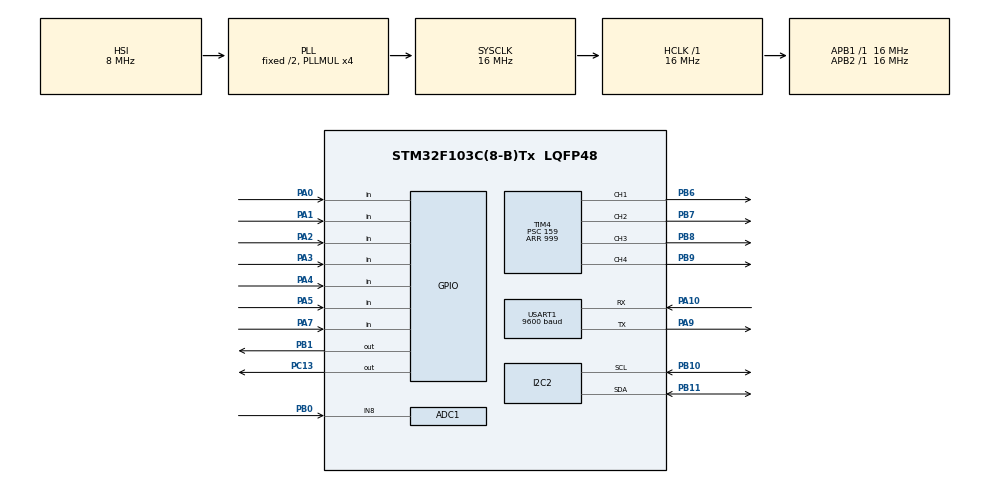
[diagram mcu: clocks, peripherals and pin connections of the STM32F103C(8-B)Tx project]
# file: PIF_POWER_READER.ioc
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ADC1.Channel-1\#ChannelRegularConversion=ADC_CHANNEL_8
ADC1.ContinuousConvMode=ENABLE
ADC1.NbrOfConversionFlag=1
ADC1.Rank-1\#ChannelRegularConversion=1
ADC1.SamplingTime-1\#ChannelRegularConversion=ADC_SAMPLETIME_239CYCLES_5
ADC1.master=1
Mcu.Family=STM32F1
Mcu.Name=STM32F103C(8-B)Tx
Mcu.Package=LQFP48
NVIC.ADC1_2_IRQn=true\:14\:0\:true\:false\:true\:true\:true\:true
NVIC.PriorityGroup=NVIC_PRIORITYGROUP_4
NVIC.USART1_IRQn=true\:5\:0\:true\:false\:true\:true\:true\:true
PA0-WKUP.Signal=GPIO_Input
PA1.Signal=GPIO_Input
PA10.Mode=Asynchronous
PA10.Signal=USART1_RX
PA13.Mode=Trace_Asynchronous_SW
PA13.Signal=SYS_JTMS-SWDIO
PA14.Mode=Trace_Asynchronous_SW
PA14.Signal=SYS_JTCK-SWCLK
PA2.Signal=GPIO_Input
PA3.Signal=GPIO_Input
PA4.Signal=GPIO_Input
PA5.Signal=GPIO_Input
PA7.Signal=GPIO_Input
PA9.Mode=Asynchronous
PA9.Signal=USART1_TX
PB0.Signal=ADCx_IN8
PB1.Signal=GPIO_Output
PB10.Mode=I2C
PB10.Signal=I2C2_SCL
PB11.Mode=I2C
PB11.Signal=I2C2_SDA
PB3.Mode=Trace_Asynchronous_SW
PB3.Signal=SYS_JTDO-TRACESWO
PB6.Signal=S_TIM4_CH1
PB7.Signal=S_TIM4_CH2
PB8.Signal=S_TIM4_CH3
PB9.Signal=S_TIM4_CH4
PC13-TAMPER-RTC.Signal=GPIO_Output
PC14-OSC32_IN.Mode=LSE-External-Oscillator
PC14-OSC32_IN.Signal=RCC_OSC32_IN
PC15-OSC32_OUT.Mode=LSE-External-Oscillator
PC15-OSC32_OUT.Signal=RCC_OSC32_OUT
PD0-OSC_IN.Mode=HSE-External-Oscillator
PD0-OSC_IN.Signal=RCC_OSC_IN
PD1-OSC_OUT.Mode=HSE-External-Oscillator
PD1-OSC_OUT.Signal=RCC_OSC_OUT
ProjectManager.HeapSize=0x200
ProjectManager.StackSize=0x400
ProjectManager.TargetToolchain=STM32CubeIDE
RCC.AHBFreq_Value=16000000
RCC.APB1Freq_Value=16000000
RCC.APB1TimFreq_Value=16000000
RCC.APB2Freq_Value=16000000
RCC.APB2TimFreq_Value=16000000
RCC.HCLKFreq_Value=16000000
RCC.PLLMUL=RCC_PLL_MUL4
RCC.SYSCLKFreq_VALUE=16000000
RCC.SYSCLKSource=RCC_SYSCLKSOURCE_PLLCLK
RCC.USBFreq_Value=16000000
SH.ADCx_IN8.0=ADC1_IN8,IN8
SH.S_TIM4_CH1.0=TIM4_CH1,PWM Generation1 CH1
SH.S_TIM4_CH2.0=TIM4_CH2,PWM Generation2 CH2
SH.S_TIM4_CH3.0=TIM4_CH3,PWM Generation3 CH3
SH.S_TIM4_CH4.0=TIM4_CH4,PWM Generation4 CH4
TIM4.AutoReloadPreload=TIM_AUTORELOAD_PRELOAD_ENABLE
TIM4.Channel-PWM\ Generation1\ CH1=TIM_CHANNEL_1
TIM4.Channel-PWM\ Generation2\ CH2=TIM_CHANNEL_2
TIM4.Channel-PWM\ Generation3\ CH3=TIM_CHANNEL_3
TIM4.Channel-PWM\ Generation4\ CH4=TIM_CHANNEL_4
TIM4.Period=999
TIM4.Prescaler=159
USART1.BaudRate=9600
USART1.VirtualMode=VM_ASYNC
VP_TIM4_VS_ClockSourceINT.Mode=Internal
board=custom

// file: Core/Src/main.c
/* USER CODE BEGIN Header */
/**
  ******************************************************************************
  * @file           : main.c
  * @brief          : Main program body
  ******************************************************************************
  * @attention
  *
  * Copyright (c) 2023 STMicroelectronics.
  * All rights reserved.
  *
  * This software is licensed under terms that can be found in the LICENSE file
  * in the root directory of this software component.
  * If no LICENSE file comes with this software, it is provided AS-IS.
  *
  ******************************************************************************
  */
/* USER CODE END Header */
#include "main.h"

/* USER CODE BEGIN Includes */
#include <icons.h>
#include <ssd1306.h>
#include <ssd1306_conf.h>
#include <ssd1306_fonts.h>
#include<stdio.h>
#include <stdbool.h>
#include<string.h>
#include<stdlib.h>
/* USER CODE END Includes */

/* USER CODE BEGIN PTD */
#define Kp 4.33 // 2.05 for 300
//4.05 4 3.8 3.75 3.65 3.5  for 500.
// 				for 700
// 4.20				for 400
// 4.33 for 450
#define Ki 0	//0for every
#define Kd 50 //23 for 300
//53.5 45.5 40.5 for 500
// 60 for 400
// 50 for 450
#define Default_speed 450
/* USER CODE END PTD */

ADC_HandleTypeDef hadc1;

I2C_HandleTypeDef hi2c2;

TIM_HandleTypeDef htim4;

UART_HandleTypeDef huart1;

/* USER CODE BEGIN PV */

float Present_Voltage = 0.00;
float Battery_voltage = 0;
uint16_t ADC_Data = 0;
float D_Drop_Voltage = 0.09 ;
float Max_Bat_Voltage = 12.6;
float Weak_Bat_Voltage = 10.8;
float Number_of_Resister = 4;
uint8_t bluetooth_status = 0;

/* USER CODE END PV */

void SystemClock_Config(void);
static void MX_GPIO_Init(void);
static void MX_I2C2_Init(void);
static void MX_ADC1_Init(void);
static void MX_TIM4_Init(void);
static void MX_USART1_UART_Init(void);

/* USER CODE BEGIN 0 */

//bluetooth variables
UART_HandleTypeDef huart1;
uint8_t u8_RxBuff[50]; // buffer luu chuoi nhan duoc
uint8_t u8_RxData; // luu byte nhan duoc
uint8_t u8_TxBuff[50] = "Hello PA\n"; // buffer truyen di
uint8_t _rxIndex; // con tro cua rxbuff
uint16_t Tx_Flag = 0;
uint8_t u8_condition;
    char result_str[50];
    char *arg_list[50];
uint8_t u8_start = 0;
float Ki_value , Kp_value , Kd_value ;
int Speed_value = 0;

void HAL_UART_RxCpltCallback(UART_HandleTypeDef *huart)
{
if (huart->Instance == USART1)
    {
      if (u8_RxData != 13) // NULL ASCII
      {
        u8_RxBuff[_rxIndex++] = u8_RxData; // Them data vao rxbuffer
      }
      else if(u8_RxData == 13)
      {
        _rxIndex = 0;// reset lai con tro
        Tx_Flag = 1;
      }
      HAL_UART_Receive_IT(&huart1, &u8_RxData, 1);
    }
}
void UART_Handle_Menu()
{
	// Cut string

	    char *temp_token = strtok((char *)u8_RxBuff, " ");
	    uint8_t _Index_arg = 0;

	    while(temp_token != NULL)
	    {
	      arg_list[_Index_arg] = temp_token;

	      _Index_arg = _Index_arg+1;
	      temp_token = temp_token+1;
	      temp_token = strtok(NULL, " ");
	    }
	    // Handle
	    if(strstr(arg_list[0], "M")!= NULL)
	          {
	            if(strstr(arg_list[1], "START" )!= NULL)
	            {
	              u8_start = 1;
	              sprintf(result_str, "OK = %d\r\n", u8_start);
	    		  HAL_UART_Transmit(&huart1, (uint8_t *)result_str, strlen(result_str), HAL_MAX_DELAY);

	             } else if (strstr(arg_list[1], "STOP" )!= NULL){
	              u8_start = 0;
	              sprintf(result_str, "OK = %d\r\n", u8_start);
	    		  HAL_UART_Transmit(&huart1, (uint8_t *)result_str, strlen(result_str), HAL_MAX_DELAY);
	             }
	          }

	    if(strstr(arg_list[0], "KI") != NULL)
	    {
	      u8_condition = 1;
	      sprintf(result_str, "OK KI = ?\r\n");
	      HAL_UART_Transmit(&huart1, (uint8_t *)result_str, strlen(result_str), HAL_MAX_DELAY);
	    } else if (strstr(arg_list[0], "KP") != NULL)
	    {
	      u8_condition = 2;
	      sprintf(result_str, "OK KP = ?\r\n");
	      HAL_UART_Transmit(&huart1, (uint8_t *)result_str, strlen(result_str), HAL_MAX_DELAY);
	    } else if (strstr(arg_list[0], "KD") != NULL)
	    {
	      u8_condition = 3;
	      sprintf(result_str, "OK KD = ?\r\n");
	      HAL_UART_Transmit(&huart1, (uint8_t *)result_str, strlen(result_str), HAL_MAX_DELAY);
	    } else if (strstr(arg_list[0], "Speed") != NULL)
	    {
	      u8_condition = 4;
	      sprintf(result_str, "OK Speed = ?\r\n");
	      HAL_UART_Transmit(&huart1, (uint8_t *)result_str, strlen(result_str), HAL_MAX_DELAY);
	    } else {
	      sprintf(result_str, "Invalid \r\n");
	      HAL_UART_Transmit(&huart1, (uint8_t *)result_str, strlen(result_str), HAL_MAX_DELAY);
	    }

	    sprintf(result_str, "Condition:%d\r\n", u8_condition);
	    HAL_UART_Transmit(&huart1, (uint8_t *)result_str, strlen(result_str), HAL_MAX_DELAY);

	    switch (u8_condition)
	  {
	   case 1:
			Ki_value = atof(arg_list[1]);
			sprintf(result_str, "OK KI = %0.5f\r\n", Ki_value);
			HAL_UART_Transmit(&huart1, (uint8_t *)result_str, strlen(result_str), HAL_MAX_DELAY);
			u8_condition = 0;
			break;
	  case 2:
		  Kp_value = atof(arg_list[1]);
		  sprintf(result_str, "OK KP = %0.5f\r\n", Kp_value);
		  HAL_UART_Transmit(&huart1, (uint8_t *)result_str, strlen(result_str), HAL_MAX_DELAY);
		  u8_condition = 0;
		break;
	  case 3:
		Kd_value = atof(arg_list[1]);
		sprintf(result_str, "OK KD = %0.5f\r\n", Kd_value);
		HAL_UART_Transmit(&huart1, (uint8_t *)result_str, strlen(result_str), HAL_MAX_DELAY);
		u8_condition = 0;
		break;
	  case 4:
		  Speed_value = atoi(arg_list[1]);
		  sprintf(result_str, "OK Speed = %d\r\n", Speed_value);
		  HAL_UART_Transmit(&huart1, (uint8_t *)result_str, strlen(result_str), HAL_MAX_DELAY);
		  u8_condition = 0;
		break;
	  }
}

/* Control Motor using timer */
void My_Motor_Control(int32_t left_vel ,int32_t right_vel)
{
	// Left motor control
	if(left_vel < 0)
	{
		TIM4->CCR1 = left_vel;
		TIM4->CCR2 = 0;
	}
	else
	{
		TIM4->CCR1 = 0;
		TIM4->CCR2 = left_vel;
	}

	//Right motor control
	if(right_vel < 0)
	{
//		TIM4->CCR4 = right_vel;
//		TIM4->CCR3 = 0;
		TIM4->CCR4 = 0;
		TIM4->CCR3 = right_vel;
	}
	else
	{
//		TIM4->CCR4 = 0;
//		TIM4->CCR3 = right_vel;
		TIM4->CCR4 = right_vel;
		TIM4->CCR3 = 0;
	}
}

void my_Oled_Display(float Kp_val , float Ki_val , float Kd_val , uint16_t M_Speed_val );

/* Oled part */
//void my_Low_Power_Alert()
//{
//	  Battery_voltage =  (float)HAL_ADC_GetValue(&hadc1)*3.3*4 /( 4096*(Max_Bat_Voltage - D_Drop_Voltage) ) *100;
//	 if(Battery_voltage < 25.0 )
//	 {
//		 HAL_Delay(10);
//		 my_Oled_Display(Kp , Ki , Kd , Default_speed);
//	  	 HAL_GPIO_WritePin(GPIOB, GPIO_PIN_1, 1);
//
//	 }else HAL_GPIO_WritePin(GPIOB, GPIO_PIN_1, 0);
//}

void Display_PID(float Kp_val , float Ki_val , float Kd_val , uint16_t M_Speed_val )
{
	  char Kp_Val_Str[6] ;
	  char Ki_Val_Str[6] ;
	  char Kd_Val_Str[6] ;
	  char M_Speed_Val_Str[6];

	  /* Display PID value */
	  sprintf(Kp_Val_Str , "%.3f" , Kp_val);
	  sprintf(Ki_Val_Str , "%.3f" , Ki_val);
	  sprintf(Kd_Val_Str , "%.3f" , Kd_val);
	  sprintf(M_Speed_Val_Str , "%d" , M_Speed_val);

/* Display Kp */
	  ssd1306_SetCursor(75 , 20);
	  ssd1306_WriteString("P: ",Font_6x8,White);
	  ssd1306_WriteString(Kp_Val_Str,Font_6x8,White);

/* Display Ki */
	  ssd1306_SetCursor(75 , 30);
	  ssd1306_WriteString("I: ",Font_6x8,White);
	  ssd1306_WriteString(Ki_Val_Str,Font_6x8,White);

/* Display Kd */
	  ssd1306_SetCursor(75 , 40);
	  ssd1306_WriteString("D: ",Font_6x8,White);
	  ssd1306_WriteString(Kd_Val_Str,Font_6x8,White);

	  /* Display M_Speed Value */
	  ssd1306_SetCursor(75, 50);
	  ssd1306_WriteString("Sp:",Font_6x8,White);
	  ssd1306_WriteString(M_Speed_Val_Str,Font_6x8,White);
}

void Display_Battery()
{

	Battery_voltage =  ((float)HAL_ADC_GetValue(&hadc1)*3.3*4 /4096);

	char BatStr[9] ;
	/* Display battery status */
		  sprintf(BatStr, "%.0f", Battery_voltage);
		  if (Battery_voltage <= 10.8)
		  {
			  ssd1306_DrawBitmap(2, 17, battery_5 , 25 ,25 ,White); //Bat [0 - 5%]
			  ssd1306_DrawBitmap(115, 1, plug , 16, 16, White);
			  HAL_GPIO_WritePin(GPIOB, GPIO_PIN_1, 1);
		  }
		  else if (Battery_voltage <= 11.25 && Battery_voltage >= 10.8)
		  {
			  ssd1306_DrawBitmap(2, 17, battery_4 , 25, 25, White); //Bat [5 - 25%]
			  ssd1306_DrawBitmap(115, 1, plug , 16, 16, White);
			  HAL_GPIO_WritePin(GPIOB, GPIO_PIN_1, 0);

		  }
		  else if (Battery_voltage <= 11.7 && Battery_voltage >=11.25)
		  {
			  ssd1306_DrawBitmap(2, 17, battery_3 , 25, 25, White); //Bat [25 - 50%]
			  HAL_GPIO_WritePin(GPIOB, GPIO_PIN_1, 0);
		  }
		  else if (Battery_voltage <= 12.15 && Battery_voltage >= 11.7)
		  {
			  ssd1306_DrawBitmap(2, 17, battery_2 , 25, 25, White); //Bat [50 - 75%]
			  HAL_GPIO_WritePin(GPIOB, GPIO_PIN_1, 0);
		  }
		  else
		  {
			  ssd1306_DrawBitmap(2, 17, battery_1 , 25, 25, White); //Bat [75 - 100%]
			  HAL_GPIO_WritePin(GPIOB, GPIO_PIN_1, 0);
		  }

		  ssd1306_SetCursor(30 , 21);
		  ssd1306_WriteString(BatStr,Font_11x18 , White);
		  ssd1306_WriteString("v",Font_7x10 , White);

}

void Display_Frame()
{
	/* Draw Frames */
		  ssd1306_Line(1, 17, 128, 17, White);
		  ssd1306_Line(70, 18, 70, 64, White);
		  ssd1306_Line(1, 41, 69, 41,  White);

}

void Display_Logo()
{
	/* Display Logo */
		  ssd1306_DrawBitmap(1, 1, LogoPIFAVENGER , 90, 16, White); //Logo

}

void Display_Bluetooth_status()
{
	  /* Display Bluetooth Status*/
	  if(1)
	  {
	  	  ssd1306_DrawBitmap(107, 4, bluetooth , 10, 10, White);
	  }

}

void my_Oled_Display(float Kp_val , float Ki_val , float Kd_val , uint16_t M_Speed_val )
{

	  bluetooth_status = HAL_GPIO_ReadPin(GPIOA, GPIO_PIN_7);
	  ssd1306_Fill(Black);
	  Display_Logo();
	  Display_Frame();
	  Display_Bluetooth_status(bluetooth_status);
	  Display_Battery();
	  ssd1306_DrawBitmap(1 , 40 , Bug , 59 , 26 ,White);
	  Display_PID(Kp_val,Ki_val,Kd_val,M_Speed_val);

/* Initialize Screen */
	  ssd1306_UpdateScreen();

}

uint16_t sum = 0;
uint16_t s[5];

void sensorRead() {
	  s[0] = (GPIOA->IDR >> 0) & 0x01;
	  s[1] = (GPIOA->IDR >> 1) & 0x01;
	  s[2] = (GPIOA->IDR >> 2) & 0x01;
	  s[3] = (GPIOA->IDR >> 3) & 0x01;
	  s[4] = (GPIOA->IDR >> 4) & 0x01;
}

uint16_t old_d;
uint16_t Distance(uint16_t sensor_value []) {
	uint16_t d = 0;
	char i = 0;
	//calibration step
	for(char k = 1; k < 6; k++) {
		if(!sensor_value[k-1])	// black line
		{
			i++;
			d += k*100;
		}
	}
	if(i>0 && i<5) {
		old_d = d/i;
		return old_d;
	}
	else if (i==5) //when all sensor detect black line --- very special case
	{
		return 300;	// keep moving forward
	}
	else	//no line? -- khi ma xe no chay lo qua duong vach vi du vo cua gap
	{
		if(old_d < 200 && old_d < 400) {
			return 300;
		}
		else
			return old_d;	// thi nho lai truong hop truoc do ma tiep tuc di nhu vay
		// vi du cua gap ma queo phai ma bi lo thi cu tiep tuc chay nhu trang thai truoc do
	}
	//06-12-23 -- chua giai quyet duoc truong hop goc nhon or goc vuong.
}

void PID_control(float _Kp, float _Ki, float _Kd, uint16_t base_speed, uint16_t distance) {
		int distance_error;
		static int old_distance_error = 0;
		static float I = 0;
		float P = 0, D = 0, Total = 0;
		int16_t increased_speed = 0, decreased_speed = 0;

		distance_error = 300 - distance;
		P = _Kp * distance_error ;

//		D = _Kd * (distance_error - old_distance_error)/5;
		D = _Kd * (distance_error - old_distance_error);

		old_distance_error = distance_error;

		if((-100 < distance_error) && ( distance_error<100))
			I = I + (_Ki * distance_error);
		else
			_Ki = 0;

		Total = P + I + D;

		////************************
		increased_speed = base_speed + ((Total > 0) ? Total : -Total);
		decreased_speed = base_speed - ((Total > 0) ? Total : -Total);

		// Ensure the motors do not go below 0 or above their set max
//		if(increased_speed < 0)
//			increased_speed = 0;
//		if(increased_speed > 900)
//			increased_speed = 900;
//		if(decreased_speed < 0)
//			decreased_speed = 0;
//		if(decreased_speed > 900)
//			decreased_speed = 900;

		// Motor control
		if (distance_error > 0)
		{
			My_Motor_Control(decreased_speed, increased_speed);
		}
		else if (distance_error < 0)
		{
			My_Motor_Control(increased_speed, decreased_speed);
		}
		else
		{
			My_Motor_Control(base_speed , base_speed);
		}
}

/* USER CODE END 0 */

int main(void)
{

  /* MCU Configuration--------------------------------------------------------*/

  /* Reset of all peripherals, Initializes the Flash interface and the Systick. */
  HAL_Init();

  /* Configure the system clock */
  SystemClock_Config();

  /* Initialize all configured peripherals */
  MX_GPIO_Init();
  MX_I2C2_Init();
  MX_ADC1_Init();
  MX_TIM4_Init();
  MX_USART1_UART_Init();
  /* USER CODE BEGIN 2 */
  HAL_ADC_Start_IT(&hadc1);
//  HAL_UART_Receive_IT(&huart1,&rxData,1);

  HAL_TIM_PWM_Start(&htim4,TIM_CHANNEL_1);
  HAL_TIM_PWM_Start(&htim4,TIM_CHANNEL_2);
  HAL_TIM_PWM_Start(&htim4,TIM_CHANNEL_3);
  HAL_TIM_PWM_Start(&htim4,TIM_CHANNEL_4);
  ssd1306_Init();
  my_Oled_Display(Kp , Ki , Kd , Default_speed);

  //for bluetooth mode
//   my_Oled_Display(Kp_value, Ki_value, Kd_value, Speed_value);
  /* USER CODE END 2 */

  /* Infinite loop */
  /* USER CODE BEGIN WHILE */
  HAL_UART_Transmit(&huart1, u8_TxBuff, sizeof(u8_TxBuff), 100);
  while (1)
  {
	  //for bluetooth
	  		 HAL_UART_Receive_IT(&huart1, &u8_RxData, 1);

			 if (Tx_Flag)
			  {
				for(int i = 0; i < 50; i++) // copy data tu Rx sang Tx
			  {
				u8_TxBuff[i] = u8_RxBuff[i];
				}
				//UART_Handle_Condition();
				UART_Handle_Menu();
				Tx_Flag = 0;
			  }

			 while (u8_start == 1) {
				 sensorRead();
				 sum = Distance(s);
				 // Bluetooth tuning
				 //	PID_control(Kp_value, 0, 0, 700, sum);
				 // normal tuning.
				 PID_control(Kp, Ki, Kd, Default_speed, sum);

		  		 HAL_UART_Receive_IT(&huart1, &u8_RxData, 1);

				 if(Tx_Flag)
				  {
					for(int i = 0; i < 50; i++) // copy data tu Rx sang Tx
				  {
					u8_TxBuff[i] = u8_RxBuff[i];
					}
					//UART_Handle_Condition();
				 UART_Handle_Menu();
		  		 Tx_Flag = 0;
				  }
			 }

			 PID_control(0, 0, 0, 0, 0);

    /* USER CODE END WHILE */

  	  }
  }

void SystemClock_Config(void)
{
  RCC_OscInitTypeDef RCC_OscInitStruct = {0};
  RCC_ClkInitTypeDef RCC_ClkInitStruct = {0};
  RCC_PeriphCLKInitTypeDef PeriphClkInit = {0};

  /** Initializes the RCC Oscillators according to the specified parameters
  * in the RCC_OscInitTypeDef structure.
  */
  RCC_OscInitStruct.OscillatorType = RCC_OSCILLATORTYPE_HSI;
  RCC_OscInitStruct.HSIState = RCC_HSI_ON;
  RCC_OscInitStruct.HSICalibrationValue = RCC_HSICALIBRATION_DEFAULT;
  RCC_OscInitStruct.PLL.PLLState = RCC_PLL_ON;
  RCC_OscInitStruct.PLL.PLLSource = RCC_PLLSOURCE_HSI_DIV2;
  RCC_OscInitStruct.PLL.PLLMUL = RCC_PLL_MUL4;
  if (HAL_RCC_OscConfig(&RCC_OscInitStruct) != HAL_OK)
  {
    Error_Handler();
  }

  /** Initializes the CPU, AHB and APB buses clocks
  */
  RCC_ClkInitStruct.ClockType = RCC_CLOCKTYPE_HCLK|RCC_CLOCKTYPE_SYSCLK
                              |RCC_CLOCKTYPE_PCLK1|RCC_CLOCKTYPE_PCLK2;
  RCC_ClkInitStruct.SYSCLKSource = RCC_SYSCLKSOURCE_PLLCLK;
  RCC_ClkInitStruct.AHBCLKDivider = RCC_SYSCLK_DIV1;
  RCC_ClkInitStruct.APB1CLKDivider = RCC_HCLK_DIV1;
  RCC_ClkInitStruct.APB2CLKDivider = RCC_HCLK_DIV1;

  if (HAL_RCC_ClockConfig(&RCC_ClkInitStruct, FLASH_LATENCY_0) != HAL_OK)
  {
    Error_Handler();
  }
  PeriphClkInit.PeriphClockSelection = RCC_PERIPHCLK_ADC;
  PeriphClkInit.AdcClockSelection = RCC_ADCPCLK2_DIV2;
  if (HAL_RCCEx_PeriphCLKConfig(&PeriphClkInit) != HAL_OK)
  {
    Error_Handler();
  }
}

static void MX_ADC1_Init(void)
{

  ADC_ChannelConfTypeDef sConfig = {0};

  /** Common config
  */
  hadc1.Instance = ADC1;
  hadc1.Init.ScanConvMode = ADC_SCAN_DISABLE;
  hadc1.Init.ContinuousConvMode = ENABLE;
  hadc1.Init.DiscontinuousConvMode = DISABLE;
  hadc1.Init.ExternalTrigConv = ADC_SOFTWARE_START;
  hadc1.Init.DataAlign = ADC_DATAALIGN_RIGHT;
  hadc1.Init.NbrOfConversion = 1;
  if (HAL_ADC_Init(&hadc1) != HAL_OK)
  {
    Error_Handler();
  }

  /** Configure Regular Channel
  */
  sConfig.Channel = ADC_CHANNEL_8;
  sConfig.Rank = ADC_REGULAR_RANK_1;
  sConfig.SamplingTime = ADC_SAMPLETIME_239CYCLES_5;
  if (HAL_ADC_ConfigChannel(&hadc1, &sConfig) != HAL_OK)
  {
    Error_Handler();
  }

}

static void MX_I2C2_Init(void)
{

  hi2c2.Instance = I2C2;
  hi2c2.Init.ClockSpeed = 100000;
  hi2c2.Init.DutyCycle = I2C_DUTYCYCLE_2;
  hi2c2.Init.OwnAddress1 = 0;
  hi2c2.Init.AddressingMode = I2C_ADDRESSINGMODE_7BIT;
  hi2c2.Init.DualAddressMode = I2C_DUALADDRESS_DISABLE;
  hi2c2.Init.OwnAddress2 = 0;
  hi2c2.Init.GeneralCallMode = I2C_GENERALCALL_DISABLE;
  hi2c2.Init.NoStretchMode = I2C_NOSTRETCH_DISABLE;
  if (HAL_I2C_Init(&hi2c2) != HAL_OK)
  {
    Error_Handler();
  }

}

static void MX_TIM4_Init(void)
{

  TIM_ClockConfigTypeDef sClockSourceConfig = {0};
  TIM_MasterConfigTypeDef sMasterConfig = {0};
  TIM_OC_InitTypeDef sConfigOC = {0};

  htim4.Instance = TIM4;
  htim4.Init.Prescaler = 159;
  htim4.Init.CounterMode = TIM_COUNTERMODE_UP;
  htim4.Init.Period = 999;
  htim4.Init.ClockDivision = TIM_CLOCKDIVISION_DIV1;
  htim4.Init.AutoReloadPreload = TIM_AUTORELOAD_PRELOAD_ENABLE;
  if (HAL_TIM_Base_Init(&htim4) != HAL_OK)
  {
    Error_Handler();
  }
  sClockSourceConfig.ClockSource = TIM_CLOCKSOURCE_INTERNAL;
  if (HAL_TIM_ConfigClockSource(&htim4, &sClockSourceConfig) != HAL_OK)
  {
    Error_Handler();
  }
  if (HAL_TIM_PWM_Init(&htim4) != HAL_OK)
  {
    Error_Handler();
  }
  sMasterConfig.MasterOutputTrigger = TIM_TRGO_RESET;
  sMasterConfig.MasterSlaveMode = TIM_MASTERSLAVEMODE_DISABLE;
  if (HAL_TIMEx_MasterConfigSynchronization(&htim4, &sMasterConfig) != HAL_OK)
  {
    Error_Handler();
  }
  sConfigOC.OCMode = TIM_OCMODE_PWM1;
  sConfigOC.Pulse = 0;
  sConfigOC.OCPolarity = TIM_OCPOLARITY_HIGH;
  sConfigOC.OCFastMode = TIM_OCFAST_DISABLE;
  if (HAL_TIM_PWM_ConfigChannel(&htim4, &sConfigOC, TIM_CHANNEL_1) != HAL_OK)
  {
    Error_Handler();
  }
  if (HAL_TIM_PWM_ConfigChannel(&htim4, &sConfigOC, TIM_CHANNEL_2) != HAL_OK)
  {
    Error_Handler();
  }
  if (HAL_TIM_PWM_ConfigChannel(&htim4, &sConfigOC, TIM_CHANNEL_3) != HAL_OK)
  {
    Error_Handler();
  }
  if (HAL_TIM_PWM_ConfigChannel(&htim4, &sConfigOC, TIM_CHANNEL_4) != HAL_OK)
  {
    Error_Handler();
  }
  HAL_TIM_MspPostInit(&htim4);

}

static void MX_USART1_UART_Init(void)
{

  huart1.Instance = USART1;
  huart1.Init.BaudRate = 9600;
  huart1.Init.WordLength = UART_WORDLENGTH_8B;
  huart1.Init.StopBits = UART_STOPBITS_1;
  huart1.Init.Parity = UART_PARITY_NONE;
  huart1.Init.Mode = UART_MODE_TX_RX;
  huart1.Init.HwFlowCtl = UART_HWCONTROL_NONE;
  huart1.Init.OverSampling = UART_OVERSAMPLING_16;
  if (HAL_UART_Init(&huart1) != HAL_OK)
  {
    Error_Handler();
  }

}

static void MX_GPIO_Init(void)
{
  GPIO_InitTypeDef GPIO_InitStruct = {0};

  /* GPIO Ports Clock Enable */
  __HAL_RCC_GPIOC_CLK_ENABLE();
  __HAL_RCC_GPIOD_CLK_ENABLE();
  __HAL_RCC_GPIOA_CLK_ENABLE();
  __HAL_RCC_GPIOB_CLK_ENABLE();

  /*Configure GPIO pin Output Level */
  HAL_GPIO_WritePin(GPIOC, GPIO_PIN_13, GPIO_PIN_RESET);

  /*Configure GPIO pin Output Level */
  HAL_GPIO_WritePin(GPIOB, GPIO_PIN_1, GPIO_PIN_RESET);

  /*Configure GPIO pin : PC13 */
  GPIO_InitStruct.Pin = GPIO_PIN_13;
  GPIO_InitStruct.Mode = GPIO_MODE_OUTPUT_PP;
  GPIO_InitStruct.Pull = GPIO_NOPULL;
  GPIO_InitStruct.Speed = GPIO_SPEED_FREQ_LOW;
  HAL_GPIO_Init(GPIOC, &GPIO_InitStruct);

  /*Configure GPIO pins : PA0 PA1 PA2 PA3
                           PA4 PA5 PA7 */
  GPIO_InitStruct.Pin = GPIO_PIN_0|GPIO_PIN_1|GPIO_PIN_2|GPIO_PIN_3
                          |GPIO_PIN_4|GPIO_PIN_5|GPIO_PIN_7;
  GPIO_InitStruct.Mode = GPIO_MODE_INPUT;
  GPIO_InitStruct.Pull = GPIO_NOPULL;
  HAL_GPIO_Init(GPIOA, &GPIO_InitStruct);

  /*Configure GPIO pin : PB1 */
  GPIO_InitStruct.Pin = GPIO_PIN_1;
  GPIO_InitStruct.Mode = GPIO_MODE_OUTPUT_PP;
  GPIO_InitStruct.Pull = GPIO_NOPULL;
  GPIO_InitStruct.Speed = GPIO_SPEED_FREQ_LOW;
  HAL_GPIO_Init(GPIOB, &GPIO_InitStruct);

}

/* USER CODE BEGIN 4 */
//ADC Interrupt
void HAL_ADC_ConvCpltCallback(ADC_HandleTypeDef* hadc)
{
	  if(hadc->Instance == hadc1.Instance)
	  {
		  ADC_Data =  HAL_ADC_GetValue(&hadc1);

	  }
}

/* USER CODE END 4 */

void Error_Handler(void)
{
  __disable_irq();
  while (1)
  {
  }
}
